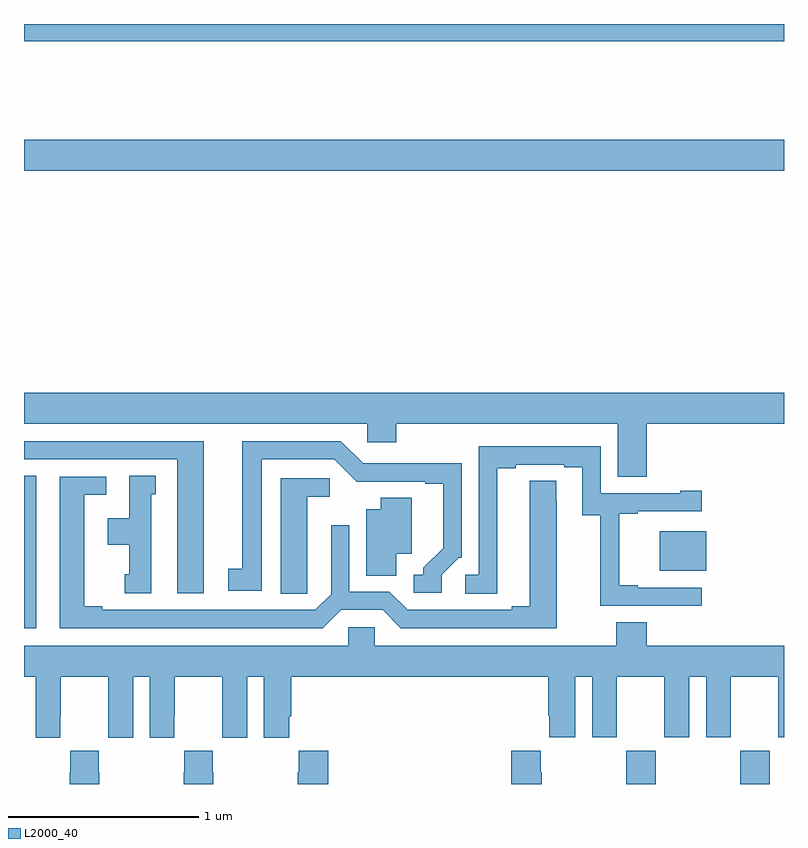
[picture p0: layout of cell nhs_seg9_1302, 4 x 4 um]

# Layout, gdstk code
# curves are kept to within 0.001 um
import gdstk
lib = gdstk.Library(unit=1e-6, precision=1e-09)
def R(c, l, rs):  # rectangles x0, y0, x1, y1
    for r in rs: c.add(gdstk.rectangle(r[:2], r[2:], *l))
def P(c, l, *ps):  # polygons
    for p in ps: c.add(gdstk.Polygon(p, *l))
L2000_40 = (2000, 40)

nhs_seg9_1302 = lib.new_cell('nhs_seg9_1302')
R(nhs_seg9_1302, L2000_40, [(186.169,1218.5,186.324,1218.676), (186.769,1218.5,186.924,1218.676), (183,1219.32,183.064,1220.123), (186.347,1219.622,186.592,1219.831), (183,1221.728,187,1221.892), (183,1222.408,187,1222.5)])
P(nhs_seg9_1302, L2000_40, [(186.278,1220.396),(187,1220.396),(187,1220.56),(183,1220.56),(183,1220.396),(184.806,1220.396),(184.806,1220.298),(184.958,1220.298),(184.958,1220.396),(186.125,1220.396),(186.125,1220.116),(186.278,1220.116)],
  [(183.946,1220.304),(183,1220.304),(183,1220.208),(183.806,1220.208),(183.806,1219.503),(183.946,1219.503)],
  [(185.199,1219.602),(185.289,1219.692),(185.304,1219.692),(185.304,1220.189),(185.041,1220.189),(185.041,1220.187),(184.785,1220.187),(184.668,1220.304),(184.148,1220.304),(184.148,1219.634),(184.074,1219.634),(184.074,1219.518),(184.252,1219.518),(184.252,1220.208),(184.632,1220.208),(184.75,1220.09),(185.111,1220.091),(185.111,1220.079),(185.207,1220.079),(185.207,1219.742),(185.102,1219.637),(185.102,1219.602),(185.052,1219.602),(185.052,1219.506),(185.199,1219.506)],
  [(186.568,1219.533),(186.229,1219.533),(186.229,1219.546),(186.134,1219.546),(186.134,1219.923),(186.229,1219.923),(186.229,1219.935),(186.568,1219.935),(186.568,1220.044),(186.455,1220.044),(186.455,1220.031),(186.036,1220.031),(186.036,1220.277),(185.394,1220.277),(185.394,1219.602),(185.322,1219.602),(185.322,1219.501),(185.491,1219.501),(185.491,1220.161),(185.587,1220.161),(185.587,1220.181),(185.843,1220.181),(185.843,1220.166),(185.939,1220.166),(185.939,1219.915),(186.034,1219.915),(186.034,1219.437),(186.568,1219.437)],
  [(183.67,1220.025),(183.694,1220.025),(183.694,1220.123),(183.554,1220.123),(183.554,1219.9),(183.44,1219.9),(183.44,1219.76),(183.554,1219.76),(183.554,1219.605),(183.53,1219.605),(183.53,1219.503),(183.67,1219.503)],
  [(184.669,1219.416),(184.887,1219.416),(184.983,1219.32),(185.803,1219.32),(185.802,1220.096),(185.663,1220.096),(185.663,1219.436),(185.567,1219.436),(185.567,1219.416),(185.019,1219.416),(184.923,1219.512),(184.713,1219.512),(184.713,1219.861),(184.617,1219.861),(184.617,1219.5),(184.533,1219.416),(183.412,1219.416),(183.412,1219.436),(183.316,1219.436),(183.316,1220.022),(183.433,1220.022),(183.433,1220.118),(183.188,1220.118),(183.188,1219.32),(184.573,1219.32)],
  [(184.491,1219.609),(184.492,1219.609),(184.492,1220.012),(184.609,1220.012),(184.609,1220.109),(184.352,1220.109),(184.352,1219.501),(184.491,1219.501)],
  [(184.96,1219.712),(185.041,1219.712),(185.041,1220.006),(184.877,1220.006),(184.877,1219.945),(184.802,1219.945),(184.802,1219.597),(184.96,1219.597)],
  [(183.192,1218.856),(183.193,1218.856),(183.193,1219.064),(183.443,1219.064),(183.443,1218.856),(183.444,1218.856),(183.444,1218.744),(183.574,1218.744),(183.574,1219.064),(183.662,1219.064),(183.662,1218.744),(183.792,1218.744),(183.792,1218.856),(183.793,1218.856),(183.793,1219.064),(184.043,1219.064),(184.043,1218.856),(184.044,1218.856),(184.044,1218.744),(184.174,1218.744),(184.174,1219.064),(184.262,1219.064),(184.262,1218.744),(184.396,1218.744),(184.396,1218.856),(184.406,1218.856),(184.406,1219.064),(185.759,1219.064),(185.759,1218.859),(185.765,1218.859),(185.765,1218.747),(185.902,1218.747),(185.902,1219.064),(185.99,1219.064),(185.99,1218.747),(186.121,1218.747),(186.121,1219.064),(186.371,1219.064),(186.371,1218.747),(186.502,1218.747),(186.502,1219.064),(186.59,1219.064),(186.59,1218.747),(186.721,1218.747),(186.721,1219.064),(186.971,1219.064),(186.971,1218.747),(187,1218.747),(187,1219.228),(186.278,1219.228),(186.278,1219.352),(186.118,1219.352),(186.118,1219.228),(184.845,1219.228),(184.845,1219.326),(184.707,1219.326),(184.707,1219.228),(183,1219.228),(183,1219.064),(183.062,1219.064),(183.062,1218.744),(183.192,1218.744)],
  [(185.724,1218.563),(185.719,1218.563),(185.719,1218.676),(185.564,1218.676),(185.564,1218.5),(185.724,1218.5)],
  [(184.601,1218.676),(184.447,1218.676),(184.447,1218.563),(184.441,1218.563),(184.441,1218.5),(184.601,1218.5)],
  [(183.396,1218.563),(183.393,1218.563),(183.393,1218.676),(183.243,1218.676),(183.243,1218.563),(183.241,1218.563),(183.241,1218.5),(183.396,1218.5)],
  [(183.996,1218.563),(183.993,1218.563),(183.993,1218.676),(183.843,1218.676),(183.843,1218.563),(183.841,1218.563),(183.841,1218.5),(183.996,1218.5)])

lib.write_gds('nhs_seg9_1302.gds')
